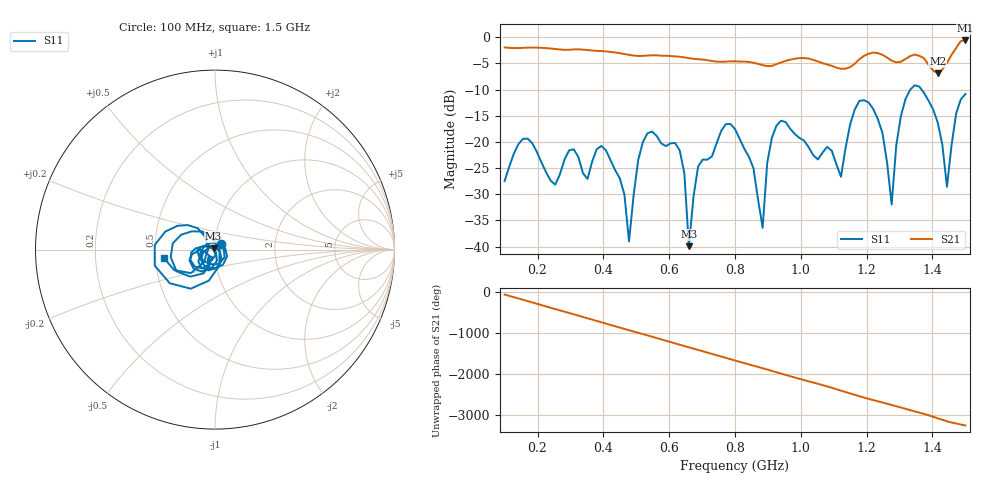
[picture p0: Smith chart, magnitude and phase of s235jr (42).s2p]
! NanoVNA-App
! Date: 2025-09-25 15:04:29
! Start: 100MHz Stop: 1,5GHz Points: 101
! S-Parameter data: F S11 S21 S12 S22
# Hz S RI R 50
!  Frequency  S11_Real  S11_Imag  S21_Real  S21_Imag  S12_Real  S12_Imag  S22_Real  S22_Imag
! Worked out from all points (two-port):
!   101 points, 100 MHz to 1.5 GHz, reference 50 ohm
!   highest |S21| = -0.63 dB at 1.5 GHz (marker M1); lowest = -6.9 dB at 1.416 GHz (marker M2)
!   |S21| within 3 dB of the highest: start of sweep to 609.9 MHz; 1.191 GHz to 1.255 GHz (63.78 MHz wide, 5.22 % of centre) (the widest 2 of 4)
!   lowest |S11| = -39.9 dB at 660 MHz (marker M3), VSWR 1.02, Z = 49.2 + j0.613 ohm
!   |S11| at or under -10 dB: start of sweep to 1.333 GHz; 1.367 GHz to end of sweep
!   S12 and S22 are empty: the file has one direction only
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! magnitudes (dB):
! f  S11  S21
! 100 MHz  -27.5  -2.0
! 156 MHz  -19.4  -2.0
! 338 MHz  -26.0  -2.4
! 408 MHz  -21.6  -2.7
! 478 MHz  -39.0  -3.4
! 520 MHz  -20.1  -3.6
! 576 MHz  -20.3  -3.5
! 632 MHz  -21.6  -3.7
! 660 MHz  -39.9  -4.0
! 688 MHz  -24.7  -4.2
! 800 MHz  -17.6  -4.6
! 884 MHz  -36.4  -5.3
! 898 MHz  -24.0  -5.5
! 926 MHz  -16.9  -5.1
! 1.038 GHz  -22.6  -4.4
! 1.122 GHz  -26.7  -6.0
! 1.206 GHz  -12.5  -3.2
! 1.276 GHz  -32.0  -4.5
! 1.332 GHz  -10.1  -3.6
! 1.416 GHz  -16.3  -6.9
! 1.444 GHz  -28.6  -4.9
! 1.5 GHz  -10.9  -0.6
